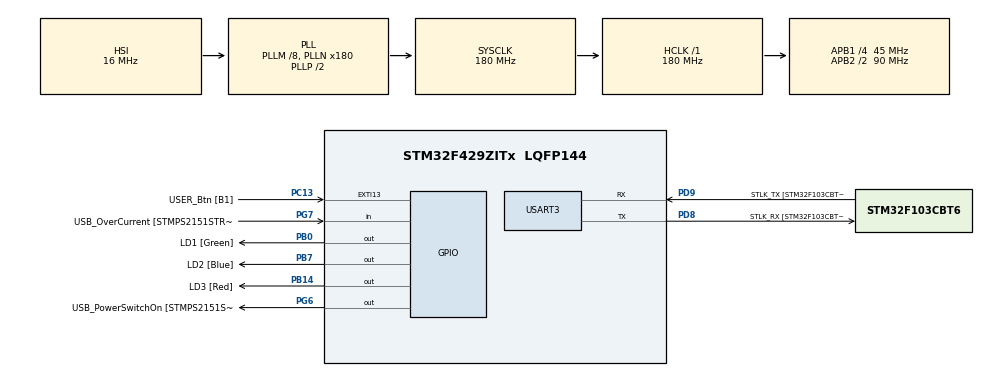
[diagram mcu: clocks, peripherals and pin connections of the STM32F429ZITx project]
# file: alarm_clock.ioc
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Mcu.Family=STM32F4
Mcu.Name=STM32F429ZITx
Mcu.Package=LQFP144
NVIC.PriorityGroup=NVIC_PRIORITYGROUP_4
NVIC.TIM2_IRQn=true\:0\:0\:false\:false\:true\:true\:true
NVIC.USART3_IRQn=true\:0\:0\:false\:false\:true\:true\:true
PA1.GPIO_Label=RMII_REF_CLK [LAN8742A-CZ-TR_REFCLK0]
PA1.Signal=ETH_REF_CLK
PA10.GPIO_Label=USB_ID
PA10.Signal=USB_OTG_FS_ID
PA11.GPIO_Label=USB_DM
PA11.Signal=USB_OTG_FS_DM
PA12.GPIO_Label=USB_DP
PA12.Signal=USB_OTG_FS_DP
PA13.GPIO_Label=TMS
PA13.Mode=Serial_Wire
PA13.Signal=SYS_JTMS-SWDIO
PA14.GPIO_Label=TCK
PA14.Mode=Serial_Wire
PA14.Signal=SYS_JTCK-SWCLK
PA2.GPIO_Label=RMII_MDIO [LAN8742A-CZ-TR_MDIO]
PA2.Signal=ETH_MDIO
PA7.GPIO_Label=RMII_CRS_DV [LAN8742A-CZ-TR_CRS_DV]
PA7.Signal=ETH_CRS_DV
PA8.GPIO_Label=USB_SOF [TP1]
PA8.Signal=USB_OTG_FS_SOF
PA9.GPIO_Label=USB_VBUS
PA9.Signal=USB_OTG_FS_VBUS
PB0.GPIO_Label=LD1 [Green]
PB0.Signal=GPIO_Output
PB13.GPIO_Label=RMII_TXD1 [LAN8742A-CZ-TR_TXD1]
PB13.Signal=ETH_TXD1
PB14.GPIO_Label=LD3 [Red]
PB14.Signal=GPIO_Output
PB7.GPIO_Label=LD2 [Blue]
PB7.Signal=GPIO_Output
PC1.GPIO_Label=RMII_MDC [LAN8742A-CZ-TR_MDC]
PC1.Signal=ETH_MDC
PC13.GPIO_Label=USER_Btn [B1]
PC13.Signal=GPXTI13
PC14/OSC32_IN.Mode=LSE-External-Oscillator
PC14/OSC32_IN.Signal=RCC_OSC32_IN
PC15/OSC32_OUT.Mode=LSE-External-Oscillator
PC15/OSC32_OUT.Signal=RCC_OSC32_OUT
PC4.GPIO_Label=RMII_RXD0 [LAN8742A-CZ-TR_RXD0]
PC4.Signal=ETH_RXD0
PC5.GPIO_Label=RMII_RXD1 [LAN8742A-CZ-TR_RXD1]
PC5.Signal=ETH_RXD1
PD8.GPIO_Label=STLK_RX [STM32F103CBT6_PA3]
PD8.Mode=Asynchronous
PD8.Signal=USART3_TX
PD9.GPIO_Label=STLK_TX [STM32F103CBT6_PA2]
PD9.Mode=Asynchronous
PD9.Signal=USART3_RX
PG11.GPIO_Label=RMII_TX_EN [LAN8742A-CZ-TR_TXEN]
PG11.Signal=ETH_TX_EN
PG13.GPIO_Label=RMII_TXD0 [LAN8742A-CZ-TR_TXD0]
PG13.Signal=ETH_TXD0
PG6.GPIO_Label=USB_PowerSwitchOn [STMPS2151STR_EN]
PG6.Signal=GPIO_Output
PG7.GPIO_Label=USB_OverCurrent [STMPS2151STR_FAULT]
PG7.Signal=GPIO_Input
PH0/OSC_IN.GPIO_Label=MCO [STM32F103CBT6_PA8]
PH0/OSC_IN.Signal=RCC_OSC_IN
ProjectManager.HeapSize=0x200
ProjectManager.StackSize=0x400
ProjectManager.TargetToolchain=STM32CubeIDE
RCC.48MHZClocksFreq_Value=51428571.428571425
RCC.AHBFreq_Value=180000000
RCC.APB1CLKDivider=RCC_HCLK_DIV4
RCC.APB1Freq_Value=45000000
RCC.APB1TimFreq_Value=90000000
RCC.APB2CLKDivider=RCC_HCLK_DIV2
RCC.APB2Freq_Value=90000000
RCC.APB2TimCLKDivider=2
RCC.APB2TimFreq_Value=180000000
RCC.CortexFreq_Value=180000000
RCC.HCLKFreq_Value=180000000
RCC.HSE_VALUE=8000000
RCC.HSI_VALUE=16000000
RCC.PLLM=8
RCC.PLLMUL=RCC_PLL_MUL9
RCC.PLLN=180
RCC.PLLQ=7
RCC.PRESCALERUSB=RCC_USBCLKSOURCE_PLL_DIV1_5
RCC.RCC_RTC_Clock_Source=RCC_RTCCLKSOURCE_LSE
RCC.SYSCLKFreq_VALUE=180000000
RCC.SYSCLKSource=RCC_SYSCLKSOURCE_PLLCLK
RCC.SYSCLKSourceVirtual=RCC_SYSCLKSOURCE_PLLCLK
RCC.USBFreq_Value=48000000
RCC.VCOOutputFreq_Value=360000000
TIM2.Period=900
TIM2.Prescaler=1000
USART3.VirtualMode=VM_ASYNC
VP_RTC_VS_RTC_Activate.Mode=RTC_Enabled
VP_TIM2_VS_ClockSourceINT.Mode=Internal
board=NUCLEO-F429ZI

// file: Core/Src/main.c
/* USER CODE BEGIN Header */
/**
  ******************************************************************************
  * @file           : main.c
  * @brief          : Main program body
  ******************************************************************************
  * @attention
  *
  * <h2><center>&copy; Copyright (c) 2020 STMicroelectronics.
  * All rights reserved.</center></h2>
  *
  * This software component is licensed by ST under BSD 3-Clause license,
  * the "License"; You may not use this file except in compliance with the
  * License. You may obtain a copy of the License at:
  *                        opensource.org/licenses/BSD-3-Clause
  *
  ******************************************************************************
  */
/* USER CODE END Header */

#include "main.h"
#include <stdio.h>

/* USER CODE BEGIN PD */
#define UP_KEY  65
#define DOWN_KEY 66
#define RIGHT_KEY 67
#define LEFT_KEY  68
#define SEL_KEY  13

#define LONG_CLICK_MIN 20
#define LONG_CLICK_MAX 50
#define LONG_CLICK_COUNT 30

#define DOUBLE_CLICK_MIN 100
#define DOUBLE_CLICK_MAX 200

#define NORMAL_CLICK_MIN 500

enum CLOCK_MODE{
	NORMAL_STATE,
	TIME_SETTING,
	ALARM_TIME_SETTING,
	MUSIC_SELECT
};

enum CLOCK_BUTTON{
	NO_KEY,
	UP,
	DOWN,
	RIGHT,
	LEFT,
	SEL
};

//설정모드 자리 나태니는 열거형
enum SETTING{
	NOT,
	AP,
	SET_H,
	SET_M,
	SET_S
};
struct clock_state{
	enum CLOCK_MODE mode;
	enum CLOCK_BUTTON button;
};

struct clock_state current_state;
enum SETTING setting = AP;

/* USER CODE END PD */

RTC_HandleTypeDef hrtc;

TIM_HandleTypeDef htim2;

UART_HandleTypeDef huart3;

void SystemClock_Config(void);
static void MX_GPIO_Init(void);
static void MX_USART3_UART_Init(void);
static void MX_RTC_Init(void);
static void MX_TIM2_Init(void);
/* USER CODE BEGIN PFP */
void time_display(void);
/* USER CODE END PFP */

/* USER CODE BEGIN 0 */
#define START_ADDR (0x08100000)
uint32_t * flash_addr,i,error_page,prog_addr;

volatile int second, minute, hour;
volatile int AL_second, AL_minute, AL_hour;
volatile int timer_count;
uint32_t selected_music;

uint32_t Address = 0, SECTORError = 0;
__IO uint32_t data32 = 0 , MemoryProgramStatus = 0;

static FLASH_EraseInitTypeDef EraseInitStruct;

char line[2][18], time_str[16];
uint8_t key_value;
char uart_buf[40];

char rcv_byte;
uint32_t last_time,current_time;
uint32_t time_interval;
uint32_t long_key_count;
uint8_t key_value;

void HAL_TIM_PeriodElapsedCallback(TIM_HandleTypeDef *htim)
{
  if(htim->Instance==TIM2)
  {
    if((timer_count%100)==0)
    {
      second++;

      if(second>=60)
      {
        minute++;
        second = 0;
      }
      else if(second < 0) second = 0;
      if(minute>=60)
      {
        hour++;
        minute = 0;
      }
      else if(minute < 0) minute = 0;
      if(hour>=24 || hour < 0)
      {
        hour = 0;
      }

      time_display();
    }
	timer_count++;
  }
}

void time_display(void)
{
	switch(current_state.mode)
	{
	case NORMAL_STATE:
		memset(line,0,sizeof(line));
		sprintf(line[0],"Korea Polytech  \r\n");
		if(hour>=12)
		{
		  strncpy(line[1],"PM ",3);
		  sprintf(time_str,"%02d:%02d:%02d\r\n",hour-12,minute,second);
		}
		else
		{
		  strncpy(line[1],"AM ",3);
		  sprintf(time_str,"%02d:%02d:%02d\r\n",hour,minute,second);
		}
		strcat(line[1],time_str);
		break;
	case TIME_SETTING:
		memset(line,0,sizeof(line));
		sprintf(line[0],"Korea Polytech  \r\n");
		//설정모드 자리가 어디 선택 되어 있는 가에 따라 깜빡임 다른 모습으로 출력
		switch(setting)
		{
		case AP:
			if(timer_count % 200 == 0)
			{
				if(hour>=12)
				{
				  strncpy(line[1],"   ",3);
				  sprintf(time_str,"%02d:%02d:%02d\r\n",hour-12,minute,second);
				}
				else
				{
				  strncpy(line[1],"   ",3);
				  sprintf(time_str,"%02d:%02d:%02d\r\n",hour,minute,second);
				}
				strcat(line[1],time_str);

			}
			else
			{
				if(hour>=12)
				{
				  strncpy(line[1],"PM ",3);
				  sprintf(time_str,"%02d:%02d:%02d\r\n",hour-12,minute,second);
				}
				else
				{
				  strncpy(line[1],"AM ",3);
				  sprintf(time_str,"%02d:%02d:%02d\r\n",hour,minute,second);
				}
				strcat(line[1],time_str);

			}
			break;
		case SET_H:
			if(timer_count % 200 == 0)
			{
				if(hour>=12)
				{
				  strncpy(line[1],"PM ",3);
				  sprintf(time_str,"  :%02d:%02d\r\n",minute,second);
				}
				else
				{
				  strncpy(line[1],"AM ",3);
				  sprintf(time_str,"  :%02d:%02d\r\n",minute,second);
				}
				strcat(line[1],time_str);

			}
			else
			{
				if(hour>=12)
				{
				  strncpy(line[1],"PM ",3);
				  sprintf(time_str,"%02d:%02d:%02d\r\n",hour-12,minute,second);
				}
				else
				{
				  strncpy(line[1],"AM ",3);
				  sprintf(time_str,"%02d:%02d:%02d\r\n",hour,minute,second);
				}
				strcat(line[1],time_str);

			}
			break;
		case SET_M:
			if(timer_count % 200 == 0)
			{
				if(hour>=12)
				{
				  strncpy(line[1],"PM ",3);
				  sprintf(time_str,"%02d:  :%02d\r\n",hour-12,second);
				}
				else
				{
				  strncpy(line[1],"AM ",3);
				  sprintf(time_str,"%02d:  :%02d\r\n",hour,second);
				}
				strcat(line[1],time_str);

			}
			else
			{
				if(hour>=12)
				{
				  strncpy(line[1],"PM ",3);
				  sprintf(time_str,"%02d:%02d:%02d\r\n",hour-12,minute,second);
				}
				else
				{
				  strncpy(line[1],"AM ",3);
				  sprintf(time_str,"%02d:%02d:%02d\r\n",hour,minute,second);
				}
				strcat(line[1],time_str);

			}
			break;
		case SET_S:
			if(timer_count % 200 == 0)
			{
				if(hour>=12)
				{
				  strncpy(line[1],"PM ",3);
				  sprintf(time_str,"%02d:%02d:  \r\n",hour-12,minute);
				}
				else
				{
				  strncpy(line[1],"AM ",3);
				  sprintf(time_str,"%02d:%02d:  \r\n",hour,minute);
				}
				strcat(line[1],time_str);

			}
			else
			{
				if(hour>=12)
				{
				  strncpy(line[1],"PM ",3);
				  sprintf(time_str,"%02d:%02d:%02d\r\n",hour-12,minute,second);
				}
				else
				{
				  strncpy(line[1],"AM ",3);
				  sprintf(time_str,"%02d:%02d:%02d\r\n",hour,minute,second);
				}
				strcat(line[1],time_str);

			}
			break;
		default:
			break;
		}
		break;
	case ALARM_TIME_SETTING:
		memset(line,0,sizeof(line));
		sprintf(line[0],"Korea Polytech  \r\n");
		//설정모드 자리가 어디 선택 되어 있는 가에 따라 깜빡임 다른 모습으로 출력
		switch(setting)
		{
		case AP:
			if(timer_count % 200 == 0)
			{
				if(AL_hour>=12)
				{
				  strncpy(line[1],"   ",3);
				  sprintf(time_str,"%02d:%02d:%02d AL\r\n",AL_hour-12,AL_minute,AL_second);
				}
				else
				{
				  strncpy(line[1],"   ",3);
				  sprintf(time_str,"%02d:%02d:%02d AL\r\n",AL_hour,AL_minute,AL_second);
				}
				strcat(line[1],time_str);

			}
			else
			{
				if(AL_hour>=12)
				{
				  strncpy(line[1],"PM ",3);
				  sprintf(time_str,"%02d:%02d:%02d AL\r\n",AL_hour-12,AL_minute,AL_second);
				}
				else
				{
				  strncpy(line[1],"AM ",3);
				  sprintf(time_str,"%02d:%02d:%02d AL\r\n",AL_hour,AL_minute,AL_second);
				}
				strcat(line[1],time_str);

			}
			break;
		case SET_H:
			if(timer_count % 200 == 0)
			{
				if(AL_hour>=12)
				{
				  strncpy(line[1],"PM ",3);
				  sprintf(time_str,"  :%02d:%02d AL\r\n",AL_minute,AL_second);
				}
				else
				{
				  strncpy(line[1],"AM ",3);
				  sprintf(time_str,"  :%02d:%02d AL\r\n",AL_minute,AL_second);
				}
				strcat(line[1],time_str);

			}
			else
			{
				if(AL_hour>=12)
				{
				  strncpy(line[1],"PM ",3);
				  sprintf(time_str,"%02d:%02d:%02d AL\r\n",AL_hour-12,AL_minute,AL_second);
				}
				else
				{
				  strncpy(line[1],"AM ",3);
				  sprintf(time_str,"%02d:%02d:%02d AL\r\n",AL_hour,AL_minute,AL_second);
				}
				strcat(line[1],time_str);

			}
			break;
		case SET_M:
			if(timer_count % 200 == 0)
			{
				if(AL_hour>=12)
				{
				  strncpy(line[1],"PM ",3);
				  sprintf(time_str,"%02d:  :%02d AL\r\n",AL_hour-12,AL_second);
				}
				else
				{
				  strncpy(line[1],"AM ",3);
				  sprintf(time_str,"%02d:  :%02d AL\r\n",AL_hour,AL_second);
				}
				strcat(line[1],time_str);

			}
			else
			{
				if(AL_hour>=12)
				{
				  strncpy(line[1],"PM ",3);
				  sprintf(time_str,"%02d:%02d:%02d AL\r\n",AL_hour-12,AL_minute,AL_second);
				}
				else
				{
				  strncpy(line[1],"AM ",3);
				  sprintf(time_str,"%02d:%02d:%02d AL\r\n",AL_hour,AL_minute,AL_second);
				}
				strcat(line[1],time_str);

			}
			break;
		case SET_S:
			if(timer_count % 200 == 0)
			{
				if(AL_hour>=12)
				{
				  strncpy(line[1],"PM ",3);
				  sprintf(time_str,"%02d:%02d:   AL\r\n",AL_hour-12,AL_minute);
				}
				else
				{
				  strncpy(line[1],"AM ",3);
				  sprintf(time_str,"%02d:%02d:   AL\r\n",AL_hour,AL_minute);
				}
				strcat(line[1],time_str);

			}
			else
			{
				if(AL_hour>=12)
				{
				  strncpy(line[1],"PM ",3);
				  sprintf(time_str,"%02d:%02d:%02d AL\r\n",AL_hour-12,AL_minute,AL_second);
				}
				else
				{
				  strncpy(line[1],"AM ",3);
				  sprintf(time_str,"%02d:%02d:%02d AL\r\n",AL_hour,AL_minute,AL_second);
				}
				strcat(line[1],time_str);

			}
			break;
		default:
			break;
		}
		break;
	case MUSIC_SELECT:
		memset(line,0,sizeof(line));
		sprintf(line[0],"Three Bears     \r\n");
		sprintf(line[1],"Spring Water    \r\n");
		break;
	default:
		break;
	}

  HAL_UART_Transmit_IT(&huart3,(uint8_t *)line,sizeof(line));
}

void HAL_UART_RxCpltCallback(UART_HandleTypeDef *huart)
{
  if (huart->Instance == USART3)
  {

	current_time = HAL_GetTick();
    time_interval = current_time - last_time;
    last_time = current_time;

    switch(current_state.mode)
    {
      case NORMAL_STATE:
    	  switch(key_value)
    	  {
    	  	  case SEL_KEY:
        		  current_state.button = SEL;
        		  mode_analysis();
    	  		  break;
    	  	  default:  // Arrow keys is Not valid in NORMAL state
    	  		  break;
    	  }
    	  break;
      case TIME_SETTING:
    	  switch(key_value)
    	  {
    	  	  case SEL_KEY:
    	  		  if(time_interval>= NORMAL_CLICK_MIN)
    	  		  {
    	  			  //플래시 메로리 저장
    	  			  //시간설정하고 플래시 메모리 저장하면 메모리 지우는 시간때문에 모드변경에 어려움
    	  			  /*
    	  			  HAL_FLASH_Unlock();
    	  			  EraseInitStruct.TypeErase     = FLASH_TYPEERASE_SECTORS;
    	  			  EraseInitStruct.VoltageRange  = FLASH_VOLTAGE_RANGE_3;
    	  			  EraseInitStruct.Sector        = FLASH_SECTOR_12;
    	  			  EraseInitStruct.NbSectors     = FLASH_SECTOR_12;
    	  			  if(HAL_FLASHEx_Erase(&EraseInitStruct, &SECTORError) != HAL_OK)
    	  			  {
    	  				memset(uart_buf,0,sizeof(uart_buf));
    	  				sprintf(uart_buf,"HAL_FLASHEx_Erase ERROR\r\n");
    	  				HAL_UART_Transmit_IT(&huart3,uart_buf,sizeof(uart_buf));
    	  				return -1;
    	  			  }
    	  			  Address = (0x08100000);
    	  			  HAL_FLASH_Program(FLASH_TYPEPROGRAM_WORD, Address, second);
    	  			  HAL_FLASH_Program(FLASH_TYPEPROGRAM_WORD, Address + 4, minute);
    	  			  HAL_FLASH_Program(FLASH_TYPEPROGRAM_WORD, Address + 8, hour);
    	  			  HAL_FLASH_Program(FLASH_TYPEPROGRAM_WORD, Address + 12, AL_second);
    	  			  HAL_FLASH_Program(FLASH_TYPEPROGRAM_WORD, Address + 16, AL_minute);
    	  			  HAL_FLASH_Program(FLASH_TYPEPROGRAM_WORD, Address + 20, AL_hour);
    	  			  HAL_FLASH_Program(FLASH_TYPEPROGRAM_WORD, Address + 24, selected_music);
    	  			  HAL_FLASH_Lock();
    	  			  */
    	  			  setting = AP;
    	  			  current_state.mode = NORMAL_STATE;
    	  		  }
    	  		  //더블클릭하면 처음 클릭 부분에서 타임세팅으로 넘어가기 때문에 여기서 음악선택모드를 판별
    	  		  //mode_analysis()에서 판별하면 타임세팅에서 더블클릭해야 음악선택모드로 넘어감
    	  		  else if(time_interval>=DOUBLE_CLICK_MIN && time_interval <=DOUBLE_CLICK_MAX)
    	  		  {
    	  			  current_state.mode = MUSIC_SELECT;
    	  			  long_key_count = 0;

    	  			  memset(uart_buf,0,sizeof(uart_buf));
    	  			  sprintf(uart_buf,"MUSIC_SELECT %d\r\n",time_interval);
    	  			  HAL_UART_Transmit_IT(&huart3,uart_buf,sizeof(uart_buf));

    	  	    }
    	  		  break;
    	  	  case UP_KEY:
    	  		  switch(setting)
    	  		  {
    	  		  case AP:
    	  			  hour += 12;
    	  			  break;
    	  		  case SET_H:
    	  			  hour++;
    	  			  break;
    	  		  case SET_M:
    	  			  minute++;
    	  			  break;
    	  		  case SET_S:
    	  			  second++;
    	  			  break;
    	  		  default:
    	  			  break;
    	  		  }
    	  		  break;
    	  	  case DOWN_KEY:
    	  		  switch(setting)
    	  		  {
    	  		  case AP:
    	  			  hour -= 12;
    	  			  break;
    	  		  case SET_H:
    	  			  hour--;
    	  			  break;
    	  		  case SET_M:
    	  			  minute--;
    	  			  break;
    	  		  case SET_S:
    	  			  second--;
    	  			  break;
    	  		  default:
    	  			  break;
    	  		  }
    	  		  break;
    	  	  case RIGHT_KEY:
    	  		  setting++;
    	  		  if(setting == 5) setting = AP;
    	  		  break;
    	  	  case LEFT_KEY:
    	  		  setting--;
    	  		  if(setting == NOT) setting = SET_S;
    	  		  break;
    	  	  default:  // Arrow keys is Not valid in NORMAL state
    	  		  break;
    	  }
    	  break;
      case ALARM_TIME_SETTING:
    	  switch(key_value)
    	  {
    	  	  case SEL_KEY:
    	  		  if(time_interval>= NORMAL_CLICK_MIN)
    	  		  {
    	  			  //플래시 메로리 저장
    	  			  HAL_FLASH_Unlock();
    	  			  EraseInitStruct.TypeErase     = FLASH_TYPEERASE_SECTORS;
    	  			  EraseInitStruct.VoltageRange  = FLASH_VOLTAGE_RANGE_3;
    	  			  EraseInitStruct.Sector        = FLASH_SECTOR_12;
    	  			  EraseInitStruct.NbSectors     = FLASH_SECTOR_12;
    	  			  if(HAL_FLASHEx_Erase(&EraseInitStruct, &SECTORError) != HAL_OK)
    	  			  {
    	  				memset(uart_buf,0,sizeof(uart_buf));
    	  				sprintf(uart_buf,"HAL_FLASHEx_Erase ERROR\r\n");
    	  				HAL_UART_Transmit_IT(&huart3,uart_buf,sizeof(uart_buf));
    	  				return -1;
    	  			  }
    	  			  Address = (0x08100000);
    	  			  HAL_FLASH_Program(FLASH_TYPEPROGRAM_WORD, Address, second);
    	  			  HAL_FLASH_Program(FLASH_TYPEPROGRAM_WORD, Address + 4, minute);
    	  			  HAL_FLASH_Program(FLASH_TYPEPROGRAM_WORD, Address + 8, hour);
    	  			  HAL_FLASH_Program(FLASH_TYPEPROGRAM_WORD, Address + 12, AL_second);
    	  			  HAL_FLASH_Program(FLASH_TYPEPROGRAM_WORD, Address + 16, AL_minute);
    	  			  HAL_FLASH_Program(FLASH_TYPEPROGRAM_WORD, Address + 20, AL_hour);
    	  			  HAL_FLASH_Program(FLASH_TYPEPROGRAM_WORD, Address + 24, selected_music);
    	  			  HAL_FLASH_Lock();
    	  			  //
    	  			  setting = AP;
    	  			  current_state.mode = NORMAL_STATE;
    	  		  }
    	  		  break;
    	  	  case UP_KEY:
    	  		  switch(setting)
    	  		  {
    	  		  case AP:
    	  			  AL_hour += 12;
    	  			  if(AL_hour > 12 || AL_hour <= 0) AL_hour = 0;
    	  			  break;
    	  		  case SET_H:
    	  			  AL_hour++;
    	  			  if(AL_hour > 12 || AL_hour <= 0) AL_hour = 0;
    	  			  break;
    	  		  case SET_M:
    	  			  AL_minute++;
    	  			  if(AL_minute > 60 || AL_minute <= 0) AL_minute = 0;
    	  			  break;
    	  		  case SET_S:
    	  			  AL_second++;
    	  			  if(AL_second > 60 || AL_second <= 0) AL_second = 0;
    	  			  break;
    	  		  default:
    	  			  break;
    	  		  }
    	  		  break;
    	  	  case DOWN_KEY:
    	  		  switch(setting)
    	  		  {
    	  		  case AP:
    	  			  AL_hour -= 12;
    	  			  if(AL_hour > 12 || AL_hour <= 0) AL_hour = 0;
    	  			  break;
    	  		  case SET_H:
    	  			  AL_hour--;
    	  			  if(AL_hour > 12 || AL_hour <= 0) AL_hour = 0;
    	  			  break;
    	  		  case SET_M:
    	  			  AL_minute--;
    	  			  if(AL_minute > 60 || AL_minute <= 0) AL_minute = 0;
    	  			  break;
    	  		  case SET_S:
    	  			  AL_second--;
    	  			  if(AL_second > 60 || AL_second <= 0) AL_second = 0;
    	  			  break;
    	  		  default:
    	  			  break;
    	  		  }
    	  		  break;
    	  	  case RIGHT_KEY:
    	  		  setting++;
    	  		  if(setting == 5) setting = AP;
    	  		  break;
    	  	  case LEFT_KEY:
    	  		  setting--;
    	  		  if(setting == NOT) setting = SET_S;
    	  		  break;
    	  	  default:  // Arrow keys is Not valid in NORMAL state
    	  		  break;
    	  }
    	  break;
      case MUSIC_SELECT:
    	  switch(key_value)
    	  {
	  	  	  case SEL_KEY:
	  	  		  //플래시 메로리 저장
	  			  HAL_FLASH_Unlock();
	  			  EraseInitStruct.TypeErase     = FLASH_TYPEERASE_SECTORS;
	  			  EraseInitStruct.VoltageRange  = FLASH_VOLTAGE_RANGE_3;
	  			  EraseInitStruct.Sector        = FLASH_SECTOR_12;
	  			  EraseInitStruct.NbSectors     = FLASH_SECTOR_12;
	  			  if(HAL_FLASHEx_Erase(&EraseInitStruct, &SECTORError) != HAL_OK)
	  			  {
	  				memset(uart_buf,0,sizeof(uart_buf));
	  				sprintf(uart_buf,"HAL_FLASHEx_Erase ERROR\r\n");
	  				HAL_UART_Transmit_IT(&huart3,uart_buf,sizeof(uart_buf));
	  				return -1;
	  			  }
	  			  Address = (0x08100000);
	  			  HAL_FLASH_Program(FLASH_TYPEPROGRAM_WORD, Address, second);
	  			  HAL_FLASH_Program(FLASH_TYPEPROGRAM_WORD, Address + 4, minute);
	  			  HAL_FLASH_Program(FLASH_TYPEPROGRAM_WORD, Address + 8, hour);
	  			  HAL_FLASH_Program(FLASH_TYPEPROGRAM_WORD, Address + 12, AL_second);
	  			  HAL_FLASH_Program(FLASH_TYPEPROGRAM_WORD, Address + 16, AL_minute);
	  			  HAL_FLASH_Program(FLASH_TYPEPROGRAM_WORD, Address + 20, AL_hour);
	  			  HAL_FLASH_Program(FLASH_TYPEPROGRAM_WORD, Address + 24, selected_music);
	  			  HAL_FLASH_Lock();
	  			  //
	  	  		  if(time_interval>= NORMAL_CLICK_MIN) current_state.mode = NORMAL_STATE;
	  	  		  break;
	  	  	  case UP_KEY:
	  	  		  selected_music = 0;	//Three Bears
	  	  		  memset(uart_buf,0,sizeof(uart_buf));
	  	  		  sprintf(uart_buf,"Three Bears selected\r\n");
	  	  		  HAL_UART_Transmit_IT(&huart3,uart_buf,sizeof(uart_buf));
	  	  		  break;
	  	  	  case DOWN_KEY:
	  	  		  selected_music = 1;	//Spring Water
	  	  		  memset(uart_buf,0,sizeof(uart_buf));
	  	  		  sprintf(uart_buf,"Spring Water selected\r\n");
	  	  		  HAL_UART_Transmit_IT(&huart3,uart_buf,sizeof(uart_buf));
	  	  		  break;
    	  }
    	  break;
      default:
    	  break;
    }

	/* Receive one byte in interrupt mode */
	HAL_UART_Receive_IT(&huart3, &key_value, 1);
  }
}

//타임세팅, 알람세팅으로 넘어가는 여부 판별 함수 (음악선택은 제외)
void mode_analysis(void)
{
    if(time_interval>=LONG_CLICK_MIN && time_interval <=LONG_CLICK_MAX)
    {
    	long_key_count++;
    }
    else if(time_interval>= NORMAL_CLICK_MIN)
    {
      current_state.mode = TIME_SETTING;
      long_key_count = 0;

      memset(uart_buf,0,sizeof(uart_buf));
      sprintf(uart_buf,"TIME_SETTING  %d\r\n",time_interval);
      HAL_UART_Transmit_IT(&huart3,uart_buf,sizeof(uart_buf));

    }

    if(long_key_count>=LONG_CLICK_COUNT)
    {
      current_state.mode  = ALARM_TIME_SETTING;
      long_key_count = 0;

      memset(uart_buf,0,sizeof(uart_buf));
      sprintf(uart_buf,"ALARM_TIME_SETTING  %d\r\n",time_interval);
      HAL_UART_Transmit_IT(&huart3,uart_buf,sizeof(uart_buf));
    }
}
/* USER CODE END 0 */

int main(void)
{

  /* MCU Configuration--------------------------------------------------------*/

  /* Reset of all peripherals, Initializes the Flash interface and the Systick. */
  HAL_Init();

  /* Configure the system clock */
  SystemClock_Config();

  /* Initialize all configured peripherals */
  MX_GPIO_Init();
  MX_USART3_UART_Init();
  MX_RTC_Init();
  MX_TIM2_Init();
  /* USER CODE BEGIN 2 */
  HAL_TIM_Base_Init(&htim2);
  HAL_TIM_Base_Start_IT(&htim2);

  HAL_UART_Receive_IT(&huart3,&rcv_byte,1);	//UART 수신 인터럽트 초기설정 이거 없으면 인터럽트 시작 안함

  current_state.mode = NORMAL_STATE;
  current_state.button = NO_KEY;

  flash_addr = (uint32_t *)START_ADDR;

  second = *(flash_addr);
  minute = *(flash_addr + 1);
  hour = *(flash_addr + 2);
  AL_second = *(flash_addr + 3);
  AL_minute = *(flash_addr + 4);
  AL_hour = *(flash_addr + 5);
  selected_music = *(flash_addr + 6);
  /* USER CODE END 2 */

  /* Infinite loop */
  while (1)
  {

  }
}

void SystemClock_Config(void)
{
  RCC_OscInitTypeDef RCC_OscInitStruct = {0};
  RCC_ClkInitTypeDef RCC_ClkInitStruct = {0};
  RCC_PeriphCLKInitTypeDef PeriphClkInitStruct = {0};

  /** Configure the main internal regulator output voltage
  */
  __HAL_RCC_PWR_CLK_ENABLE();
  __HAL_PWR_VOLTAGESCALING_CONFIG(PWR_REGULATOR_VOLTAGE_SCALE1);
  /** Initializes the CPU, AHB and APB busses clocks
  */
  RCC_OscInitStruct.OscillatorType = RCC_OSCILLATORTYPE_HSI|RCC_OSCILLATORTYPE_LSE;
  RCC_OscInitStruct.LSEState = RCC_LSE_ON;
  RCC_OscInitStruct.HSIState = RCC_HSI_ON;
  RCC_OscInitStruct.HSICalibrationValue = RCC_HSICALIBRATION_DEFAULT;
  RCC_OscInitStruct.PLL.PLLState = RCC_PLL_ON;
  RCC_OscInitStruct.PLL.PLLSource = RCC_PLLSOURCE_HSI;
  RCC_OscInitStruct.PLL.PLLM = 8;
  RCC_OscInitStruct.PLL.PLLN = 180;
  RCC_OscInitStruct.PLL.PLLP = RCC_PLLP_DIV2;
  RCC_OscInitStruct.PLL.PLLQ = 7;
  if (HAL_RCC_OscConfig(&RCC_OscInitStruct) != HAL_OK)
  {
    Error_Handler();
  }
  /** Activate the Over-Drive mode
  */
  if (HAL_PWREx_EnableOverDrive() != HAL_OK)
  {
    Error_Handler();
  }
  /** Initializes the CPU, AHB and APB busses clocks
  */
  RCC_ClkInitStruct.ClockType = RCC_CLOCKTYPE_HCLK|RCC_CLOCKTYPE_SYSCLK
                              |RCC_CLOCKTYPE_PCLK1|RCC_CLOCKTYPE_PCLK2;
  RCC_ClkInitStruct.SYSCLKSource = RCC_SYSCLKSOURCE_PLLCLK;
  RCC_ClkInitStruct.AHBCLKDivider = RCC_SYSCLK_DIV1;
  RCC_ClkInitStruct.APB1CLKDivider = RCC_HCLK_DIV4;
  RCC_ClkInitStruct.APB2CLKDivider = RCC_HCLK_DIV2;

  if (HAL_RCC_ClockConfig(&RCC_ClkInitStruct, FLASH_LATENCY_5) != HAL_OK)
  {
    Error_Handler();
  }
  PeriphClkInitStruct.PeriphClockSelection = RCC_PERIPHCLK_RTC;
  PeriphClkInitStruct.RTCClockSelection = RCC_RTCCLKSOURCE_LSE;
  if (HAL_RCCEx_PeriphCLKConfig(&PeriphClkInitStruct) != HAL_OK)
  {
    Error_Handler();
  }
}

static void MX_RTC_Init(void)
{

  /** Initialize RTC Only
  */
  hrtc.Instance = RTC;
  hrtc.Init.HourFormat = RTC_HOURFORMAT_24;
  hrtc.Init.AsynchPrediv = 127;
  hrtc.Init.SynchPrediv = 255;
  hrtc.Init.OutPut = RTC_OUTPUT_DISABLE;
  hrtc.Init.OutPutPolarity = RTC_OUTPUT_POLARITY_HIGH;
  hrtc.Init.OutPutType = RTC_OUTPUT_TYPE_OPENDRAIN;
  if (HAL_RTC_Init(&hrtc) != HAL_OK)
  {
    Error_Handler();
  }

}

static void MX_TIM2_Init(void)
{

  TIM_ClockConfigTypeDef sClockSourceConfig = {0};
  TIM_MasterConfigTypeDef sMasterConfig = {0};

  htim2.Instance = TIM2;
  htim2.Init.Prescaler = 1000;
  htim2.Init.CounterMode = TIM_COUNTERMODE_UP;
  htim2.Init.Period = 900;
  htim2.Init.ClockDivision = TIM_CLOCKDIVISION_DIV1;
  htim2.Init.AutoReloadPreload = TIM_AUTORELOAD_PRELOAD_DISABLE;
  if (HAL_TIM_Base_Init(&htim2) != HAL_OK)
  {
    Error_Handler();
  }
  sClockSourceConfig.ClockSource = TIM_CLOCKSOURCE_INTERNAL;
  if (HAL_TIM_ConfigClockSource(&htim2, &sClockSourceConfig) != HAL_OK)
  {
    Error_Handler();
  }
  sMasterConfig.MasterOutputTrigger = TIM_TRGO_RESET;
  sMasterConfig.MasterSlaveMode = TIM_MASTERSLAVEMODE_DISABLE;
  if (HAL_TIMEx_MasterConfigSynchronization(&htim2, &sMasterConfig) != HAL_OK)
  {
    Error_Handler();
  }

}

static void MX_USART3_UART_Init(void)
{

  huart3.Instance = USART3;
  huart3.Init.BaudRate = 115200;
  huart3.Init.WordLength = UART_WORDLENGTH_8B;
  huart3.Init.StopBits = UART_STOPBITS_1;
  huart3.Init.Parity = UART_PARITY_NONE;
  huart3.Init.Mode = UART_MODE_TX_RX;
  huart3.Init.HwFlowCtl = UART_HWCONTROL_NONE;
  huart3.Init.OverSampling = UART_OVERSAMPLING_16;
  if (HAL_UART_Init(&huart3) != HAL_OK)
  {
    Error_Handler();
  }

}

static void MX_GPIO_Init(void)
{
  GPIO_InitTypeDef GPIO_InitStruct = {0};

  /* GPIO Ports Clock Enable */
  __HAL_RCC_GPIOC_CLK_ENABLE();
  __HAL_RCC_GPIOH_CLK_ENABLE();
  __HAL_RCC_GPIOA_CLK_ENABLE();
  __HAL_RCC_GPIOB_CLK_ENABLE();
  __HAL_RCC_GPIOD_CLK_ENABLE();
  __HAL_RCC_GPIOG_CLK_ENABLE();

  /*Configure GPIO pin Output Level */
  HAL_GPIO_WritePin(GPIOB, LD1_Pin|LD3_Pin|LD2_Pin, GPIO_PIN_RESET);

  /*Configure GPIO pin Output Level */
  HAL_GPIO_WritePin(USB_PowerSwitchOn_GPIO_Port, USB_PowerSwitchOn_Pin, GPIO_PIN_RESET);

  /*Configure GPIO pin : USER_Btn_Pin */
  GPIO_InitStruct.Pin = USER_Btn_Pin;
  GPIO_InitStruct.Mode = GPIO_MODE_IT_RISING;
  GPIO_InitStruct.Pull = GPIO_NOPULL;
  HAL_GPIO_Init(USER_Btn_GPIO_Port, &GPIO_InitStruct);

  /*Configure GPIO pins : RMII_MDC_Pin RMII_RXD0_Pin RMII_RXD1_Pin */
  GPIO_InitStruct.Pin = RMII_MDC_Pin|RMII_RXD0_Pin|RMII_RXD1_Pin;
  GPIO_InitStruct.Mode = GPIO_MODE_AF_PP;
  GPIO_InitStruct.Pull = GPIO_NOPULL;
  GPIO_InitStruct.Speed = GPIO_SPEED_FREQ_VERY_HIGH;
  GPIO_InitStruct.Alternate = GPIO_AF11_ETH;
  HAL_GPIO_Init(GPIOC, &GPIO_InitStruct);

  /*Configure GPIO pins : RMII_REF_CLK_Pin RMII_MDIO_Pin RMII_CRS_DV_Pin */
  GPIO_InitStruct.Pin = RMII_REF_CLK_Pin|RMII_MDIO_Pin|RMII_CRS_DV_Pin;
  GPIO_InitStruct.Mode = GPIO_MODE_AF_PP;
  GPIO_InitStruct.Pull = GPIO_NOPULL;
  GPIO_InitStruct.Speed = GPIO_SPEED_FREQ_VERY_HIGH;
  GPIO_InitStruct.Alternate = GPIO_AF11_ETH;
  HAL_GPIO_Init(GPIOA, &GPIO_InitStruct);

  /*Configure GPIO pins : LD1_Pin LD3_Pin LD2_Pin */
  GPIO_InitStruct.Pin = LD1_Pin|LD3_Pin|LD2_Pin;
  GPIO_InitStruct.Mode = GPIO_MODE_OUTPUT_PP;
  GPIO_InitStruct.Pull = GPIO_NOPULL;
  GPIO_InitStruct.Speed = GPIO_SPEED_FREQ_LOW;
  HAL_GPIO_Init(GPIOB, &GPIO_InitStruct);

  /*Configure GPIO pin : RMII_TXD1_Pin */
  GPIO_InitStruct.Pin = RMII_TXD1_Pin;
  GPIO_InitStruct.Mode = GPIO_MODE_AF_PP;
  GPIO_InitStruct.Pull = GPIO_NOPULL;
  GPIO_InitStruct.Speed = GPIO_SPEED_FREQ_VERY_HIGH;
  GPIO_InitStruct.Alternate = GPIO_AF11_ETH;
  HAL_GPIO_Init(RMII_TXD1_GPIO_Port, &GPIO_InitStruct);

  /*Configure GPIO pin : USB_PowerSwitchOn_Pin */
  GPIO_InitStruct.Pin = USB_PowerSwitchOn_Pin;
  GPIO_InitStruct.Mode = GPIO_MODE_OUTPUT_PP;
  GPIO_InitStruct.Pull = GPIO_NOPULL;
  GPIO_InitStruct.Speed = GPIO_SPEED_FREQ_LOW;
  HAL_GPIO_Init(USB_PowerSwitchOn_GPIO_Port, &GPIO_InitStruct);

  /*Configure GPIO pin : USB_OverCurrent_Pin */
  GPIO_InitStruct.Pin = USB_OverCurrent_Pin;
  GPIO_InitStruct.Mode = GPIO_MODE_INPUT;
  GPIO_InitStruct.Pull = GPIO_NOPULL;
  HAL_GPIO_Init(USB_OverCurrent_GPIO_Port, &GPIO_InitStruct);

  /*Configure GPIO pins : USB_SOF_Pin USB_ID_Pin USB_DM_Pin USB_DP_Pin */
  GPIO_InitStruct.Pin = USB_SOF_Pin|USB_ID_Pin|USB_DM_Pin|USB_DP_Pin;
  GPIO_InitStruct.Mode = GPIO_MODE_AF_PP;
  GPIO_InitStruct.Pull = GPIO_NOPULL;
  GPIO_InitStruct.Speed = GPIO_SPEED_FREQ_VERY_HIGH;
  GPIO_InitStruct.Alternate = GPIO_AF10_OTG_FS;
  HAL_GPIO_Init(GPIOA, &GPIO_InitStruct);

  /*Configure GPIO pin : USB_VBUS_Pin */
  GPIO_InitStruct.Pin = USB_VBUS_Pin;
  GPIO_InitStruct.Mode = GPIO_MODE_INPUT;
  GPIO_InitStruct.Pull = GPIO_NOPULL;
  HAL_GPIO_Init(USB_VBUS_GPIO_Port, &GPIO_InitStruct);

  /*Configure GPIO pins : RMII_TX_EN_Pin RMII_TXD0_Pin */
  GPIO_InitStruct.Pin = RMII_TX_EN_Pin|RMII_TXD0_Pin;
  GPIO_InitStruct.Mode = GPIO_MODE_AF_PP;
  GPIO_InitStruct.Pull = GPIO_NOPULL;
  GPIO_InitStruct.Speed = GPIO_SPEED_FREQ_VERY_HIGH;
  GPIO_InitStruct.Alternate = GPIO_AF11_ETH;
  HAL_GPIO_Init(GPIOG, &GPIO_InitStruct);

}

void Error_Handler(void)
{
}

/************************ (C) COPYRIGHT STMicroelectronics *****END OF FILE****/
